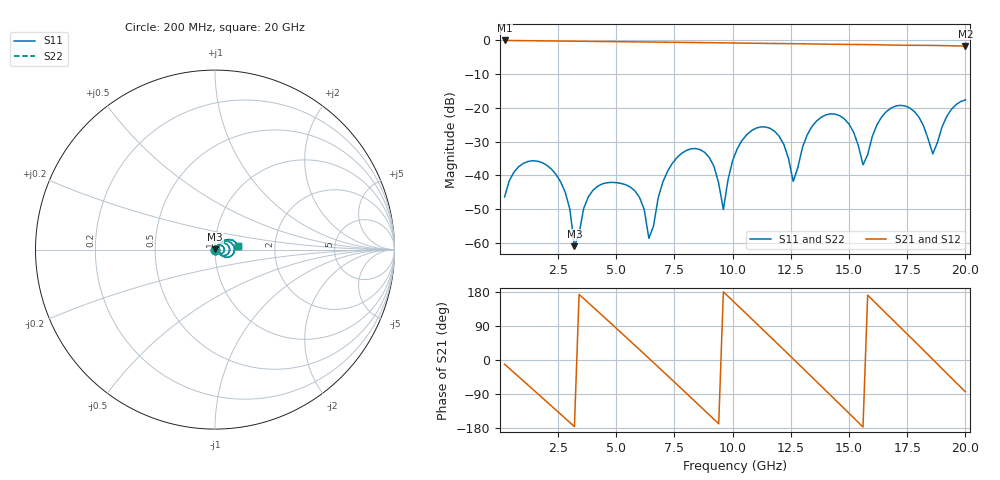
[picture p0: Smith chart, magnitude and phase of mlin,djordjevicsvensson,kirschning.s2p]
! Created Tue May 10 10:03:44 2022
# hz S ma R 50
! 2 Port Network Data from SP1.SP block
! freq  magS11  angS11  magS21  angS21  magS12  angS12  magS22  angS22
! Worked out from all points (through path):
!   100 points, 200 MHz to 20 GHz, reference 50 ohm
!   highest |S21| = -0.02 dB at 200 MHz (marker M1); lowest = -1.7 dB at 20 GHz (marker M2)
!   group delay of S21, straight-line fit = 162 ps
!   lowest |S11| = -61.0 dB at 3.2 GHz (marker M3), VSWR 1.00, Z = 50 + j0.0849 ohm
!   |S11| at or under -10 dB: start of sweep to end of sweep
!   |S22| runs from -61.0 to -17.6 dB; largest |S21 - S12| = 0
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2e8  0.004787 -117.1  0.9981 -11.0  0.9981 -11.0  0.004787 -117.1
2e9  0.0142 130.0  0.9833 -109.7  0.9833 -109.7  0.0142 130.0
2.8e9  0.005654 81.5  0.9767 -153.7  0.9767 -153.7  0.005654 81.5
3.2e9  0.0008902 72.3  0.9734 -175.9  0.9734 -175.9  0.0008902 72.3
3.6e9  0.003242 -161.9  0.9701 161.9  0.9701 161.9  0.003242 -161.9
5e9  0.007788 82.2  0.9585 83.7  0.9585 83.7  0.007788 82.2
6e9  0.004698 -7.1  0.9501 27.2  0.9501 27.2  0.004698 -7.1
6.4e9  0.001163 -10.7  0.9468 4.5  0.9468 4.5  0.001163 -10.7
6.8e9  0.004666 94.1  0.9435 -18.3  0.9435 -18.3  0.004666 94.1
8.2e9  0.02467 10.1  0.9313 -98.8  0.9313 -98.8  0.02467 10.1
9e9  0.01828 -34.5  0.9245 -145.1  0.9245 -145.1  0.01828 -34.5
9.6e9  0.003107 13.4  0.9196 179.9  0.9196 179.9  0.003107 13.4
1.02e10  0.02487 58.0  0.9144 144.7  0.9144 144.7  0.02487 58.0
1.16e10  0.04981 -16.7  0.9012 62.3  0.9012 62.3  0.04981 -16.7
1.26e10  0.008106 -15.1  0.8938 3.0  0.8938 3.0  0.008106 -15.1
1.34e10  0.05238 44.3  0.886 -44.8  0.886 -44.8  0.05238 44.3
1.44e10  0.08076 -7.4  0.8754 -104.6  0.8754 -104.6  0.08076 -7.4
1.54e10  0.02751 -43.1  0.8693 -164.7  0.8693 -164.7  0.02751 -43.1
1.56e10  0.01433 -14.0  0.8679 -176.8  0.8679 -176.8  0.01433 -14.0
1.68e10  0.09901 21.4  0.8538 110.6  0.8538 110.6  0.09901 21.4
1.84e10  0.0344 -38.2  0.8434 13.8  0.8434 13.8  0.0344 -38.2
2e10  0.1312 8.2  0.8234 -83.9  0.8234 -83.9  0.1312 8.2
